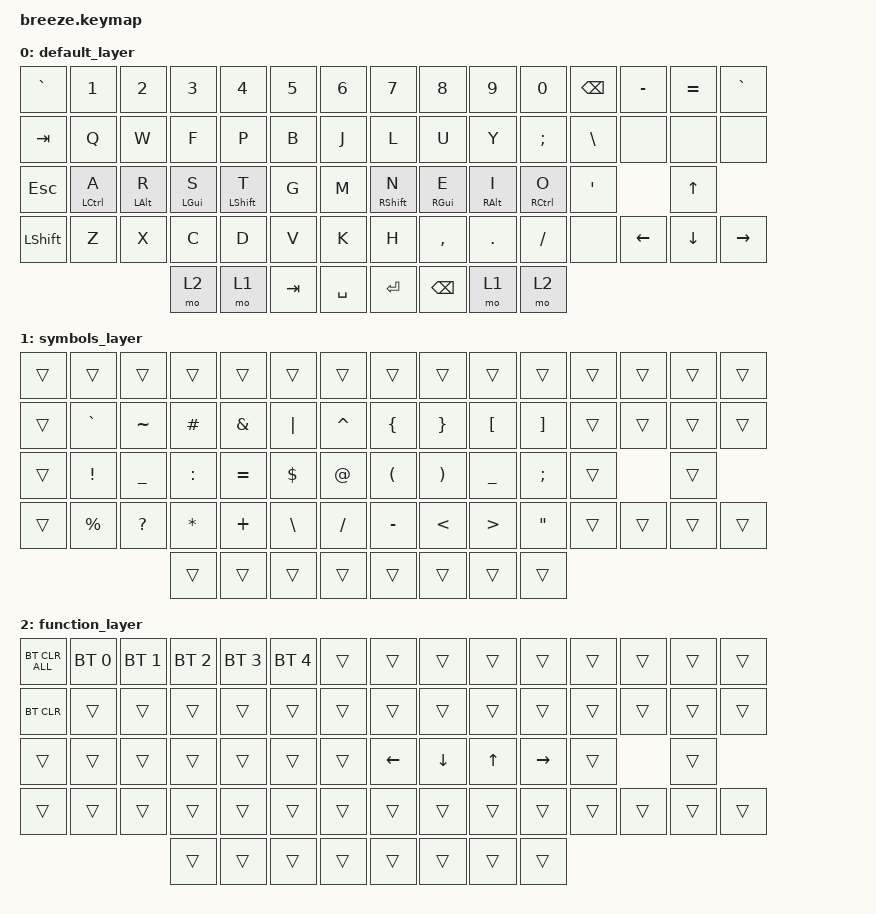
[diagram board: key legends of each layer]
#include <behaviors.dtsi>
#include <dt-bindings/zmk/keys.h>
#include <dt-bindings/zmk/bt.h>

/ {
  behaviors {
    // https://github.com/urob/zmk-config#timeless-homerow-mods
    lht: left_positional_hold_tap {
      compatible = "zmk,behavior-hold-tap";
      #binding-cells = <2>;
      flavor = "balanced";
      require-prior-idle-ms = <150>;
      tapping-term-ms = <200>;                        // <---[[produces tap if held longer than tapping-term-ms]]
      quick-tap-ms = <175>;
      bindings = <&kp>, <&kp>;

      hold-trigger-key-positions = <6 7 8 9 10 11 12 13 14 21 22 23 24 25 26 27 28 29 36 37 38 39 40 41 42 49 50 51 52 53 54 55 56 57 >;
      hold-trigger-on-release;
    };
    rht: right_positional_hold_tap {
      compatible = "zmk,behavior-hold-tap";
      #binding-cells = <2>;
      bindings = <&kp>, <&kp>;

      flavor = "balanced";
      tapping-term-ms = <280>;                        // <---[[produces tap if held longer than tapping-term-ms]]
      quick-tap-ms = <175>;
      require-prior-idle-ms = <150>;
      hold-trigger-key-positions = < 0 1 2 3 4 5 15 16 17 18 19 20 30 31 32 33 34 35 43 44 45 46 47 48 >;
      hold-trigger-on-release;

    };
  };
	keymap {
		compatible = "zmk,keymap";

		default_layer {

// Ref: https://zmkfirmware.dev/docs/codes/

// ---  MAIN  -----------------------------------------------------------------------------------------------------------------------
// |    `/~    |     1     |     2     |     3      |      4      |      5     |                             |      6      |      7     |      8      |      9       |     0     |            | |    -/_    |     =/+     |     `/~     |
// |    TAB    |     Q     |     W     |     F      |      P      |      B     |                             |      J      |      L     |      U      |      Y       |     ;     |     \      | |           |             |             |
// |    ESC    |     A     |     R     |     S      |      T      |      G     |                             |      M      |      N     |      E      |      I       |     O     |     '      | |           |      UP     |             |
// |   SHIFT   |     Z     |     X     |     C      |      D      |      V     |                             |      K      |      H     |      ,      |      .       |     /     |            | |   LEFT    |     DOWN    |    RIGHT    |
//                                     |            |             |            |     SPACE    |  |   ENTER   |     BSPC    |            |             |
			bindings = <
    &kp GRAVE      &kp N1       &kp N2      &kp N3      &kp N4       &kp N5                                   &kp N6        &kp N7       &kp N8      &kp N9      &kp N0       &kp BSPC      &kp MINUS   &kp EQUAL     &kp GRAVE
    &kp TAB        &kp Q        &kp W       &kp F       &kp P        &kp B                                    &kp J         &kp L        &kp U       &kp Y       &kp SEMI     &kp BSLH      &none       &none         &none     
    &kp ESC        &lht LCTRL A &lht LALT R &lht LGUI S &lht LSHFT T &kp G                                    &kp M         &rht RSHFT N &rht RGUI E &rht RALT I &rht RCTRL O &kp APOS                  &kp UP    
    &kp LSHFT      &kp Z        &kp X       &kp C       &kp D        &kp V                                    &kp K         &kp H        &kp COMMA   &kp DOT     &kp FSLH     &none         &kp LEFT    &kp DOWN      &kp RIGHT
                                            &mo 2       &mo 1        &kp TAB      &kp SPACE       &kp RET     &kp BSPC      &mo 1        &mo 2
			>;
		};
    symbols_layer {
// ---  SYMBOLS  --------------------------------------------------------------------------------------------------------------------
// |           |           |           |           |           |           |                             |           |           |           |           |           |            | |           |             |             |
// |           |     `     |     ~     |     #     |     &     |     |     |                             |     ^     |     {     |     }     |     [     |     ]     |            | |           |             |             |
// |           |     !     |     _     |     :     |     =     |     $     |                             |     @     |     (     |     )     |     _     |     ;     |            | |           |             |             |
// |           |     %     |     ?     |     *     |     +     |     \     |                             |     /     |     -     |     <     |     >     |     "     |            | |           |             |             |
//                                     |            |             |            |            |  |           |             |            |             |
			bindings = <
    &trans         &trans     &trans     &trans     &trans      &trans                                 &trans       &trans      &trans     &trans     &trans      &trans       &trans      &trans        &trans
    &trans         &kp GRAVE  &kp TILDE  &kp HASH   &kp AMPS    &kp PIPE                                &kp CARET    &kp LBRC    &kp RBRC   &kp LBKT   &kp RBKT    &trans       &trans      &trans        &trans
    &trans         &kp EXCL   &kp UNDER  &kp COLON  &kp EQUAL   &kp DOLLAR                              &kp AT       &kp LPAR    &kp RPAR   &kp UNDER  &kp SEMI    &trans                   &trans
    &trans         &kp PERCENT &kp QMARK &kp STAR   &kp PLUS    &kp BSLH                                &kp FSLH     &kp MINUS   &kp LT     &kp GT     &kp DQT     &trans       &trans      &trans        &trans
                                             &trans       &trans        &trans       &trans          &trans      &trans        &trans       &trans
			>;
		};
    function_layer {
// ---  FUNCTION  -------------------------------------------------------------------------------------------------------------------
// | BT Clear  |  BT 1     |  BT 2     |  BT 3      |             |            |                           |      6      |     7      |      8      |      9     |    0     |            | |           |             |             |
// |           |           |           |            |             |            |                           |             |            |             |            |          |            | |           |             |             |
// |           |           |           |            |             |            |                           |             |     [      |      ]      |      -     |    =     |            | |           |             |             |
// |           |           |           |            |             |            |                           |             |            |             |            |          |            | |           |             |             |
//                                     |            |             |            |            |  |           |             |            |             |
			bindings = <
    &bt BT_CLR_ALL &bt BT_SEL 0 &bt BT_SEL 1 &bt BT_SEL 2 &bt BT_SEL 3  &bt BT_SEL 4                             &trans        &trans       &trans        &trans       &trans      &trans        &trans      &trans        &trans
    &bt BT_CLR     &trans       &trans       &trans       &trans        &trans                                   &trans        &trans       &trans        &trans       &trans      &trans        &trans      &trans        &trans
    &trans         &trans       &trans       &trans       &trans        &trans                                   &trans        &kp LEFT     &kp DOWN      &kp UP       &kp RIGHT   &trans                    &trans              
    &trans         &trans       &trans       &trans       &trans        &trans                                   &trans        &trans       &trans        &trans       &trans      &trans        &trans      &trans        &trans
                                             &trans       &trans        &trans       &trans          &trans      &trans        &trans       &trans
			>;
		};
	};
};
